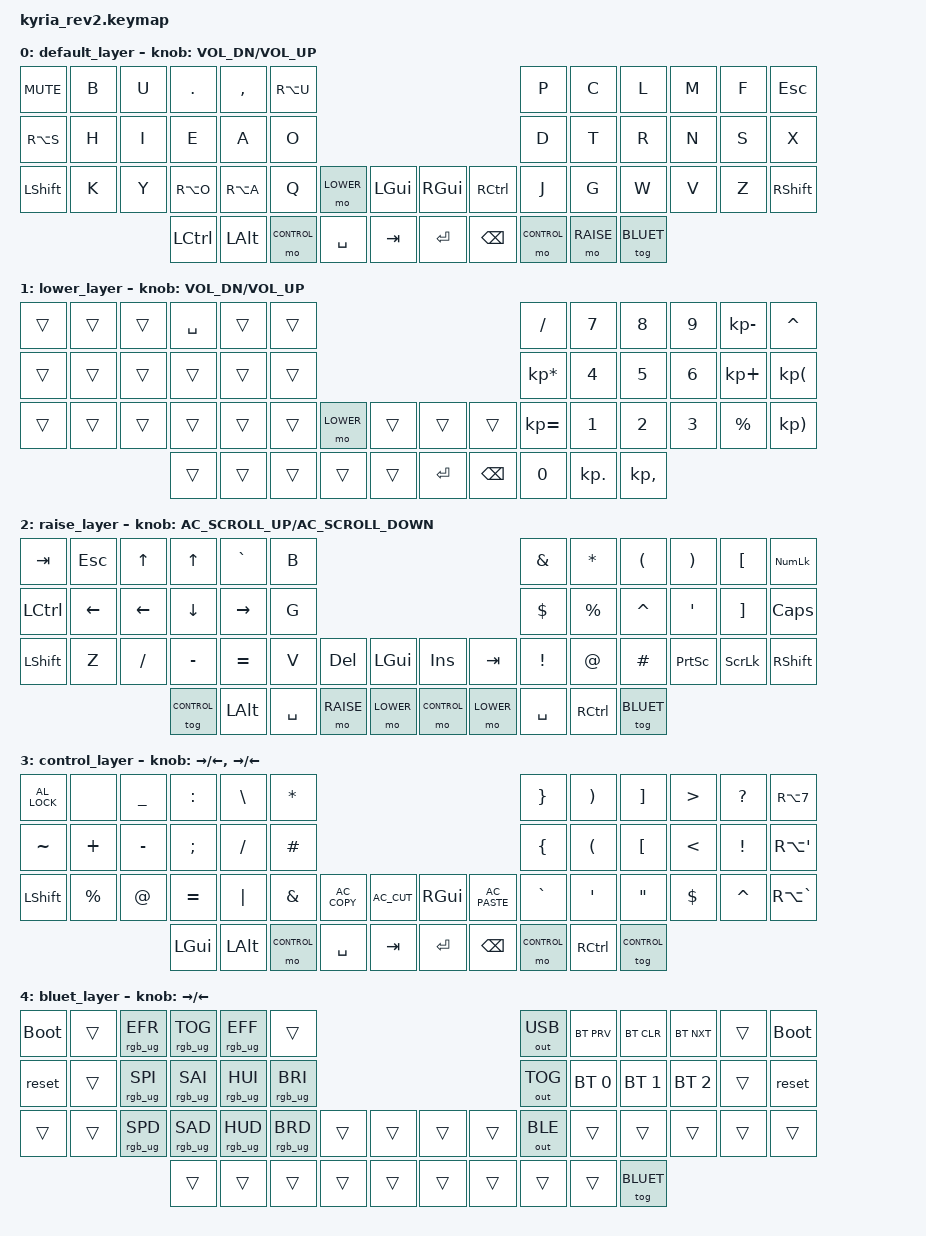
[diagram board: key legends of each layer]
/*
 * Copyright (c) 2020 The ZMK Contributors
 *
 * SPDX-License-Identifier: MIT
 */

#include <behaviors.dtsi>
#include <dt-bindings/zmk/keys.h>
#include <dt-bindings/zmk/bt.h>
#include <dt-bindings/zmk/outputs.h>
#include <dt-bindings/zmk/rgb.h>

// The encodings of this layout are based on EuroKeys.
#define DEFAULT 0
#define LOWER   1
#define RAISE   2
#define CONTROL 3
#define BLUET	4

/ {
	keymap {
		compatible = "zmk,keymap";

		default_layer {
// BuT primary layout
// ---------------------------------------------------------------------------------------------------------------------------------
// |  MUTE  |  B  |  U  |  .    |  ,   |   Ü     |                                           	|   P     |  C    |  L    |  M   |   F   | ESC  |
// |  ß     |  H  |  I  |  E    |  A   |   O     |                                           	|   D     |  T    |  R    |  N   |   S   |  X   |
// | SHIFT  |  K  |  Y  |  Ö    |  Ä   |   Q     |  LOWER   |  L GUI  |  |  R GUI  |   RCTL   	|   J     |  G    |  W    |  V   |   Z   | SHFT |
//                      | LCTL | ALT  | CONTROL |  SPACE   |  TAB  |  |  ENTER  |   BkSp  	| CONTROL | RAISE  | BLUET |
			bindings = <
	&kp C_MUTE 	&kp B 	&kp U 		&kp DOT 	&kp COMMA 	&kp RA(U)                                       						&kp P 		&kp C  		&kp L   	&kp M   &kp F 	&kp ESC
	&kp RA(S)  	&kp H 	&kp I 		&kp E 		&kp A 		&kp O                                          							&kp D 		&kp T  		&kp R   	&kp N   &kp S   &kp X
	&kp LSHFT  	&kp K	&kp Y 		&kp RA(O) 	&kp RA(A) 	&kp Q 		&mo LOWER  	&kp LGUI      		&kp RGUI 	&kp RCTRL  		&kp J 		&kp G  		&kp W 		&kp V 	&kp Z 	&kp RSHFT
	        						&kp LCTRL 		&kp LALT 	&mo CONTROL &kp SPACE 	&kp TAB   		&kp ENTER 	&kp BSPC 		&mo CONTROL &mo RAISE 	&tog BLUET
			>;

			sensor-bindings = <&inc_dec_kp C_VOL_DN C_VOL_UP>;
		};

		lower_layer {
// Number layer
// ---------------------------------------------------------------------------------------------------------------------------------
// 	| trans | trans | trans | SPACE | trans | trans |                                      |   /   |  7    |  8    	|  9   |	-  	|  ^   |
// 	| trans | trans | trans | trans | trans | trans |                                      |   *   |  4    |  5    	|  6   |	+	|  (   |
// 	| trans | trans | trans | trans | trans | trans |  LOWER  | trans |  | trans |  ENTER  |   =   |  1    |  2    	|  3   |	%	|  )   |
//                     		| trans | trans | trans |  trans  | trans |  | trans |  SPACE  |   0   |  .    | ,		|
			bindings = <
	&trans  &trans &trans	&kp SPACE	&trans	&trans                                                 		&kp FSLH 		&kp N7 		&kp N8 	&kp N9	&kp KP_MINUS 	&kp CARET
	&trans  &trans &trans	&trans	    &trans  &trans                                                 		&kp KP_MULTIPLY &kp N4 		&kp N5 	&kp N6 	&kp KP_PLUS 	&kp KP_LPAR
	&trans  &trans &trans	&trans	    &trans	&trans		&mo LOWER 	&trans		&trans		&trans 	    &kp KP_EQUAL 	&kp N1 		&kp N2 	&kp N3  	&kp PERCENT &kp KP_RPAR
	                     	&trans	    &trans	&trans 		&trans 		&trans		&kp ENTER   &kp BSPC 	&kp N0 		&kp KP_DOT 		&kp KP_COMMA
			>;

			sensor-bindings = <&inc_dec_kp C_VOL_DN C_VOL_UP>;
		};

		raise_layer {
// Navigation layer
// ---------------------------------------------------------------------------------------------------------------------------------
// |  TAB  | ESC |  UP  | PgUp  |  ~   |   B   |                                          |   &   |  *    |  (    |  )   |   [   | NmLk |
// |  CTRL |  LEFT  | DOWN | RIGHT  | END  |   G   |                                          |   $   |  %    |  ^    |  '   |   ]   | Caps |
// | SHIFT |  Z  |  /  |  -    |  =   |   V   |  DEL    |  L GUI  |  |  INSERT |   TAB   |   !   |  @    |  #    | PrSc | ScrLk | SHFT |
//                     | CONTR | ALT  | SPACE |  RAISE  |  LOWER  |  |  CONTR  |  LOWER  | SPACE | RCTL  | BLUET |
			bindings = <
	&kp TAB    &kp ESC 		&kp UP    	&kp UP &kp GRAVE &kp B                                         &kp AMPS &kp ASTRK &kp LPAR  &kp RPAR  &kp LBKT &kp KP_NUM
	&kp LCTRL  &kp LEFT  	&kp LEFT 	&kp DOWN &kp RIGHT   &kp G                                         &kp DLLR &kp PRCNT &kp CARET &kp APOS  &kp RBKT &kp CAPS
	&kp LSHFT  &kp Z   &kp FSLH &kp MINUS &kp EQUAL &kp V &kp DEL &kp LGUI   &kp INS     &kp TAB  &kp EXCL &kp AT    &kp HASH  &kp PSCRN &kp SLCK &kp RSHFT
	                   &tog CONTROL &kp LALT &kp SPACE &mo RAISE &mo LOWER   &mo CONTROL &mo LOWER &kp SPACE &kp RCTRL &tog BLUET
			>;

			sensor-bindings = <&inc_dec_kp C_AC_SCROLL_UP C_AC_SCROLL_DOWN>;
		};
		control_layer {
// Symbol layer
// Lock works on Mac
// ---------------------------------------------------------------------------------------------------------------------------------
// | Lock  |     |  _  |   :   |   \   |    *  	|                                          	|   }   | )  |  ]   |  >  |  ?  |  ˚	|
// |    ~  |  +  |  -  |   ;   |   /   |    #  	|                                          	|   {   | (  |  [   |  <  |  !  |  ´	|
// | SHIFT |  %  |  @  |   =   |   |   |    &	|  COPY  |  CUT  	|  |  R GUI  |  Paste 	|   `   |  ' |  "   |  %  |  ^  |  `	|
//                     | L GUI |  ALT  |  CONTR |  SPACE  |  TAB	|  |  ENTER  |  BkSp  	| CONTR | RCTL  | CONTR |
			bindings = <
	&kp C_AL_LOCK		&none		&kp UNDER 	&kp COLON  		&kp BSLH  	&kp STAR                                              							&kp RBRC 	&kp RPAR 	&kp RBKT  	&kp GT   	&kp QMARK 	&kp RA(N7)
	&kp TILDE  	&kp PLUS  	&kp MINUS  	&kp SEMI  		&kp FSLH  	&kp HASH                                            							&kp LBRC 	&kp LPAR 	&kp LBKT  	&kp LT   	&kp EXCL  	&kp RA(SQT) 
	&kp LSHFT  	&kp	PRCNT 	&kp AT      &kp EQUAL 	    &kp PIPE 	&kp AMPS  	&kp C_AC_COPY   &kp C_AC_CUT      	&kp RGUI  	&kp C_AC_PASTE  	&kp GRAVE  	&kp SQT     &kp DQT		&kp DLLR  	&kp CARET  	&kp RA(GRAVE)
	              						&kp LGUI  		&kp LALT 	&mo CONTROL &kp SPACE 		&kp TAB    			&kp ENTER 	&kp BSPC 			&mo CONTROL &kp RCTRL 	&tog CONTROL
			>;

			sensor-bindings = <&inc_dec_kp RIGHT LEFT &inc_dec_kp RIGHT LEFT>;
		};

		bluet_layer {
// Bluetooth and RGB command layer. Access with LOWER+CONTROL or toggle. 3 profiles!
// ---------------------------------------------------------------------------------------------------------------------------------
// | Bootloader | trans | RGB EFR | RGB TOG | RGB EFF |  trans  |                                      | Out USB | BT PRV | BT Clr | BT NXT | trans | Bootloader |
// |    Reset   | trans | RGB SPI | RGB SAI | RGB HUI | RGB BRI |                                      | Out Tog |  BL 0  |  BL 1  |  BL 2  | trans |    Reset   |
// |    trans   | trans | RGB SPD | RGB SAD | RGB HUD | RGB BRD | trans | trans |  | trans | trans | Out BLT |  trans |  trans |  trans | trans |    trans   |
//                                | trans | trans | trans | trans | trans |  | trans | trans |  trans  |  trans |  BLUET |
			bindings = <
	&bootloader &trans &rgb_ug RGB_EFR &rgb_ug RGB_TOG 	&rgb_ug RGB_EFF &trans                                      			&out OUT_USB 	&bt BT_PRV 		&bt BT_CLR 		&bt BT_NXT      &trans 	&bootloader
	&reset  	&trans &rgb_ug RGB_SPI &rgb_ug RGB_SAI 	&rgb_ug RGB_HUI &rgb_ug RGB_BRI                             			&out OUT_TOG 	&bt BT_SEL 0 	&bt BT_SEL 1 	&bt BT_SEL 2 	&trans 	&reset
	&trans  	&trans &rgb_ug RGB_SPD &rgb_ug RGB_SAD 	&rgb_ug RGB_HUD &rgb_ug RGB_BRD 	&trans &trans   	&trans	&trans  &out OUT_BLE 	&trans 			&trans  		&trans 			&trans 	&trans
	                                   &trans 			&trans 			&trans 				&trans &trans   	&trans	&trans 	&trans 			&trans 			&tog BLUET
			>;

			sensor-bindings = <&inc_dec_kp RIGHT LEFT>;
		};
	};
};
